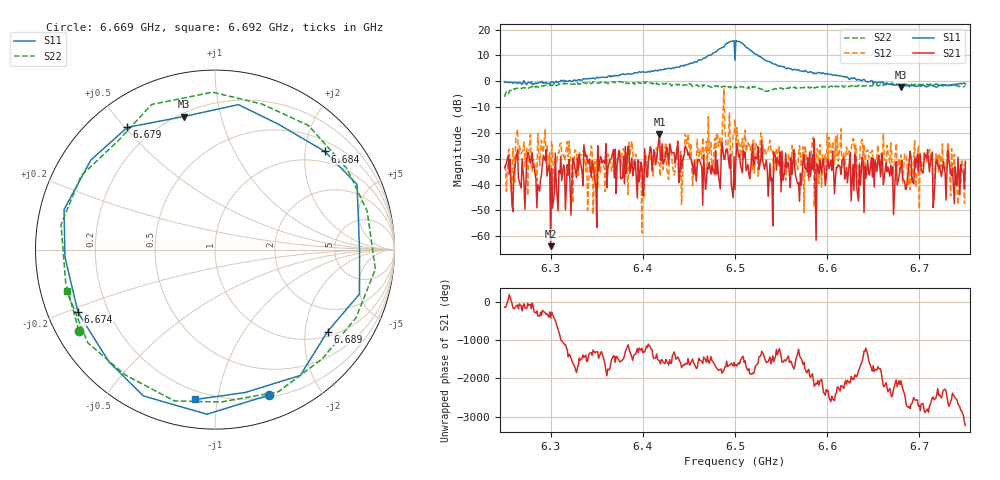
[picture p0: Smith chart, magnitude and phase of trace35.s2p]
# Hz S RI R 50
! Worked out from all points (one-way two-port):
!   401 points, 6.25 GHz to 6.75 GHz, reference 50 ohm
!   highest |S21| = -20.52 dB at 6.418 GHz (marker M1); lowest = -63.9 dB at 6.3 GHz (marker M2)
!   lowest |S11| = -2.4 dB at 6.68 GHz (marker M3), VSWR 7.38, Z = 10.9 + j38.4 ohm
!   |S11| at or under -10 dB: nowhere
!   |S22| runs from -6.1 to -0.1 dB; largest |S21 - S12| = 0.73
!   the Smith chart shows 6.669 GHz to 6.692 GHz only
!   S11 on the Smith chart (normalised r, x): 6.669 GHz: 0.22, -1.41; 6.674 GHz: 0.09, -0.22; 6.679 GHz: 0.11, +0.51; 6.684 GHz: 0.73, +2.43; 6.689 GHz: 1.15, -2.63; 6.692 GHz: 0.15, -0.87
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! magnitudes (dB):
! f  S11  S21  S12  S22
! 6.25 GHz  -0.4  -33.5  -32.6  -6.1
! 6.27 GHz  -0.5  -34.4  -26.8  -2.5
! 6.278 GHz  -0.7  -31.7  -20.6  -2.3
! 6.286 GHz  -0.7  -40.0  -20.2  -2.2
! 6.295 GHz  -0.4  -26.5  -31.3  -1.6
! 6.3 GHz  -0.4  -63.9  -47.6  -1.4
! 6.334 GHz  0.4  -34.9  -28.5  -1.2
! 6.349 GHz  1.1  -39.8  -42.0  -0.4
! 6.418 GHz  4.4  -20.5  -32.0  -1.2
! 6.441 GHz  6.0  -28.7  -26.5  -1.6
! 6.5 GHz  8.1  -42.0  -14.7  -1.9
! 6.57 GHz  4.1  -46.5  -24.9  -2.6
! 6.584 GHz  3.4  -28.5  -22.5  -2.4
! 6.668 GHz  -1.1  -36.8  -31.7  -1.2
! 6.669 GHz  -1.3  -32.4  -23.9  -1.1
! 6.674 GHz  -1.5  -36.4  -27.6  -1.8
! 6.679 GHz  -1.5  -33.6  -36.1  -1.3
! 6.68 GHz  -2.4  -33.3  -28.5  -1.3
! 6.684 GHz  -1.7  -38.6  -28.2  -1.2
! 6.689 GHz  -2.2  -30.7  -32.0  -1.2
! 6.692 GHz  -1.5  -38.1  -39.7  -1.3
! 6.75 GHz  -1.2  -31.0  -31.3  -1.9
